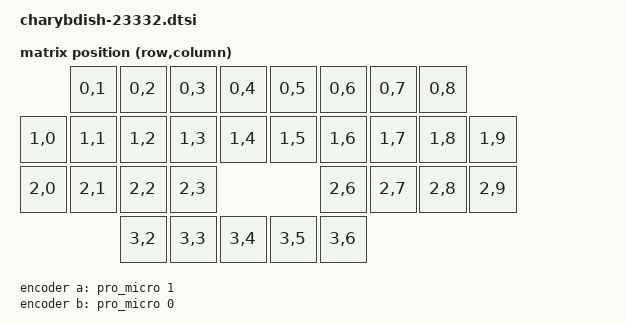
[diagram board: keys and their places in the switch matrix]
#include <dt-bindings/zmk/matrix_transform.h>
#include "charybdish-23332-layouts.dtsi"

/ {
    /*chosen {
        zmk,kscan = &kscan0;
        zmk,matrix_transform = &default_transform;
    };*/

    chosen {
        zmk,kscan = &kscan0;
        zmk,physical-layout = &physical_layout0;
    };

    /* battery monitor*/
    vbatt: vbatt {
	compatible = "zmk,battery-nrf-vddh";
    };

    default_transform: keymap_transform_0 {
        compatible = "zmk,matrix-transform";
        columns = <10>;
        rows = <4>;
        map = <
                    RC(0,1) RC(0,2) RC(0,3) RC(0,4)     RC(0,5) RC(0,6) RC(0,7) RC(0,8)
            RC(1,0) RC(1,1) RC(1,2) RC(1,3) RC(1,4)     RC(1,5) RC(1,6) RC(1,7) RC(1,8) RC(1,9)
            RC(2,0) RC(2,1) RC(2,2) RC(2,3)                     RC(2,6) RC(2,7) RC(2,8) RC(2,9)
                            RC(3,2) RC(3,3) RC(3,4)     RC(3,5) RC(3,6)
        >;
    };

    kscan0: kscan0 {
        compatible = "zmk,kscan-gpio-matrix";
        diode-direction = "col2row";
        wakeup-source;
    };

    encoder: encoder {
        compatible = "alps,ec11";
        a-gpios = <&pro_micro 1 (GPIO_ACTIVE_HIGH | GPIO_PULL_UP)>;
        b-gpios = <&pro_micro 0 (GPIO_ACTIVE_HIGH | GPIO_PULL_UP)>;
        steps = <18>;
        status = "disabled";
    };

    sensors: sensors {
        compatible = "zmk,keymap-sensors";
        sensors = <&encoder>;
        triggers-per-rotation = <18>;
    };

};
